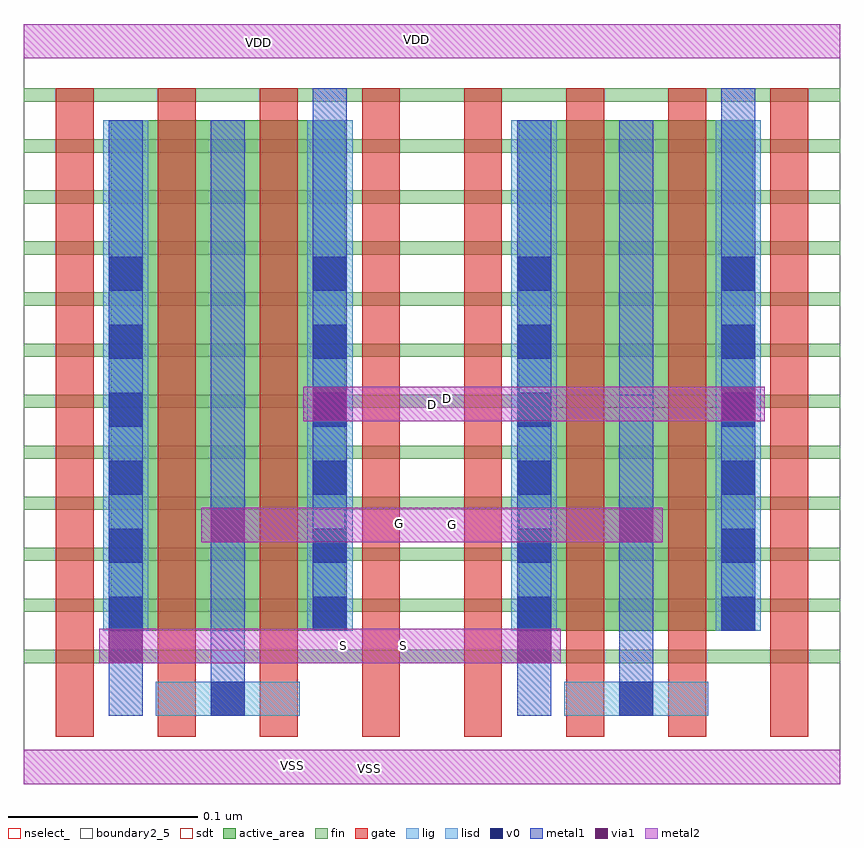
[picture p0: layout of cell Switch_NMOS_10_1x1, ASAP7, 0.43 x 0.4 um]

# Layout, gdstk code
import gdstk
lib = gdstk.Library(unit=1e-6, precision=2.5e-10)
def R(c, l, rs):  # rectangles x0, y0, x1, y1
    for r in rs: c.add(gdstk.rectangle(r[:2], r[2:], *l))
def A(c, l, x, y, w, h, nx, ny, dx, dy):  # array of equal rectangles
    R(c, l, [(x+i*dx, y+j*dy, x+i*dx+w, y+j*dy+h) for i in range(nx) for j in range(ny)])
fin = (2, 0)
gate = (7, 0)
active_area = (11, 0)
nselect_ = (12, 0)
lig = (16, 0)
lisd = (17, 0)
v0 = (18, 0)
metal1 = (19, 0)
metal2 = (20, 0)
via1 = (21, 0)
sdt = (88, 0)
boundary2_5 = (235, 5)

m2_m1_cdns_543803490170 = lib.new_cell('M2_M1_CDNS_543803490170')
R(m2_m1_cdns_543803490170, metal1, [(-0.009,-0.014,0.009,0.014)])
R(m2_m1_cdns_543803490170, metal2, [(-0.014,-0.009,0.014,0.009)])
R(m2_m1_cdns_543803490170, via1, [(-0.009,-0.009,0.009,0.009)])

switch_nmos_10_1x1 = lib.new_cell('Switch_NMOS_10_1x1')
A(switch_nmos_10_1x1, fin, 0, 0.064, 0.216, 0.007, 1, 10, 0, 0.027)
A(switch_nmos_10_1x1, fin, 0.216, 0.064, 0.216, 0.007, 1, 10, 0, 0.027)
R(switch_nmos_10_1x1, fin, [(0,0.307,0.216,0.314), (0.216,0.307,0.432,0.314), (0,0.334,0.216,0.341), (0,0.334,0.216,0.341), (0.216,0.334,0.432,0.341), (0.216,0.334,0.432,0.341), (0,0.361,0.216,0.368), (0.216,0.361,0.432,0.368)])
A(switch_nmos_10_1x1, gate, 0.017, 0.025, 0.02, 0.343, 8, 1, 0.054, 0)
R(switch_nmos_10_1x1, gate, [(0.071,0.05,0.091,0.368)])
R(switch_nmos_10_1x1, active_area, [(0.046,0.081,0.17,0.351), (0.262,0.081,0.386,0.351)])
R(switch_nmos_10_1x1, nselect_, [(0,0,0.432,0.402)])
R(switch_nmos_10_1x1, lig, [(0.07,0.036,0.146,0.054), (0.286,0.036,0.362,0.054)])
A(switch_nmos_10_1x1, lisd, 0.042, 0.081, 0.024, 0.27, 4, 1, 0.108, 0)
A(switch_nmos_10_1x1, v0, 0.045, 0.081, 0.018, 0.018, 4, 6, 0.108, 0.036)
R(switch_nmos_10_1x1, v0, [(0.099,0.036,0.117,0.054), (0.315,0.036,0.333,0.054)])
R(switch_nmos_10_1x1, metal1, [(0.045,0.036,0.063,0.351), (0.099,0.036,0.117,0.351), (0.261,0.036,0.279,0.351), (0.315,0.036,0.333,0.351), (0.153,0.081,0.171,0.368), (0.369,0.081,0.387,0.368)])
R(switch_nmos_10_1x1, metal2, [(0,0,0.432,0.018), (0,0,0.432,0.018), (0.04,0.064,0.284,0.082), (0.04,0.064,0.284,0.082), (0.094,0.128,0.338,0.146), (0.094,0.128,0.338,0.146), (0.148,0.192,0.392,0.21), (0.148,0.192,0.392,0.21), (0,0.384,0.432,0.402), (0,0.384,0.432,0.402)])
A(switch_nmos_10_1x1, sdt, 0.042, 0.081, 0.024, 0.27, 4, 1, 0.108, 0)
R(switch_nmos_10_1x1, boundary2_5, [(0,0,0.432,0.402)])
switch_nmos_10_1x1.add(gdstk.Reference(m2_m1_cdns_543803490170, (0.378,0.201)))
switch_nmos_10_1x1.add(gdstk.Reference(m2_m1_cdns_543803490170, (0.162,0.201)))
switch_nmos_10_1x1.add(gdstk.Reference(m2_m1_cdns_543803490170, (0.324,0.137)))
switch_nmos_10_1x1.add(gdstk.Reference(m2_m1_cdns_543803490170, (0.108,0.137)))
switch_nmos_10_1x1.add(gdstk.Reference(m2_m1_cdns_543803490170, (0.27,0.073)))
switch_nmos_10_1x1.add(gdstk.Reference(m2_m1_cdns_543803490170, (0.054,0.073)))
switch_nmos_10_1x1.add(gdstk.Label('D', (0.224,0.204), layer=20, texttype=0))
switch_nmos_10_1x1.add(gdstk.Label('VDD', (0.124,0.392), layer=20, texttype=0))
switch_nmos_10_1x1.add(gdstk.Label('G', (0.227,0.137), layer=20, texttype=0))
switch_nmos_10_1x1.add(gdstk.Label('S', (0.169,0.073), layer=20, texttype=0))
switch_nmos_10_1x1.add(gdstk.Label('VSS', (0.142,0.01), layer=20, texttype=0))
switch_nmos_10_1x1.add(gdstk.Label('VDD', (0.208,0.394), layer=20, texttype=0))
switch_nmos_10_1x1.add(gdstk.Label('D', (0.216,0.201), layer=20, texttype=0))
switch_nmos_10_1x1.add(gdstk.Label('G', (0.199,0.138), layer=20, texttype=0))
switch_nmos_10_1x1.add(gdstk.Label('S', (0.201,0.073), layer=20, texttype=0))
switch_nmos_10_1x1.add(gdstk.Label('VSS', (0.183,0.008), layer=20, texttype=0))

lib.write_gds('Switch_NMOS_10_1x1.gds')
